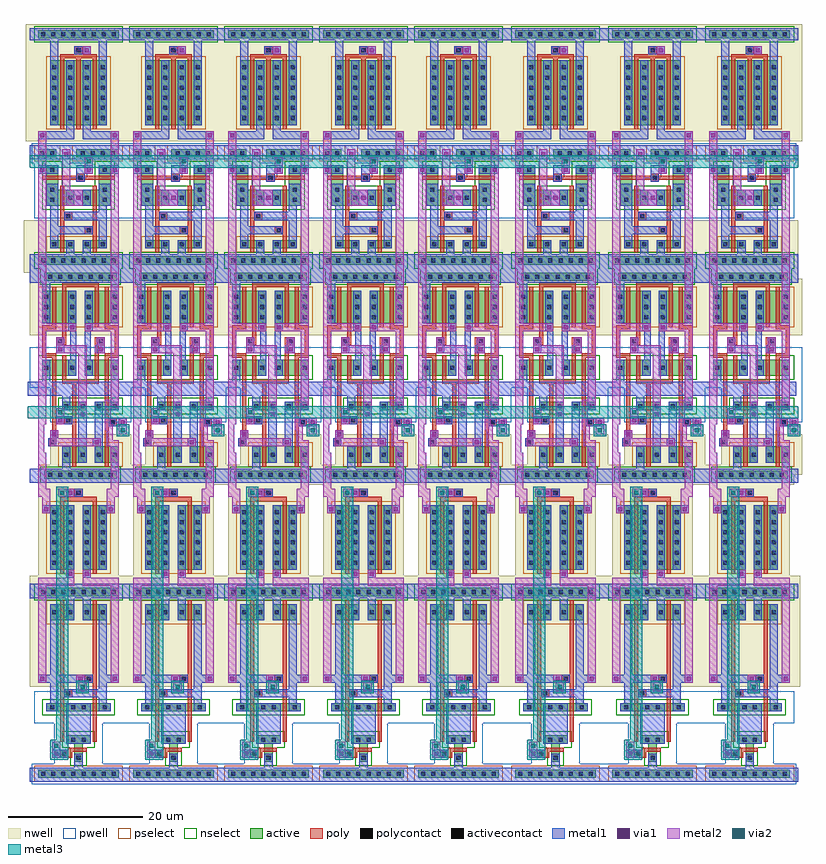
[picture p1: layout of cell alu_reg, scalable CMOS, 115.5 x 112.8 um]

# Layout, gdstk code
import gdstk
lib = gdstk.Library(unit=1e-6, precision=1e-09)
def R(c, l, rs):  # rectangles x0, y0, x1, y1
    for r in rs: c.add(gdstk.rectangle(r[:2], r[2:], *l))
def A(c, l, x, y, w, h, nx, ny, dx, dy):  # array of equal rectangles
    R(c, l, [(x+i*dx, y+j*dy, x+i*dx+w, y+j*dy+h) for i in range(nx) for j in range(ny)])
pwell = (41, 0)
nwell = (42, 0)
active = (43, 0)
pselect = (44, 0)
nselect = (45, 0)
poly = (46, 0)
polycontact = (47, 0)
activecontact = (48, 0)
metal1 = (49, 0)
via1 = (50, 0)
metal2 = (51, 0)
via2 = (61, 0)
metal3 = (62, 0)

precharge = lib.new_cell('precharge')
R(precharge, nwell, [(-7.5,-5.1,8.1,12.3)])
R(precharge, active, [(-3.9,-2.7,4.5,6.9), (-5.7,10.2,6.3,11.4)])
R(precharge, pselect, [(-4.5,-3.3,5.1,7.5)])
R(precharge, nselect, [(-6.3,9.6,6.9,12)])
A(precharge, poly, -2.4, -3.3, 0.6, 10.5, 3, 1, 2.4, 0)
R(precharge, poly, [(-2.4,7.2,3,7.8), (-0.3,7.8,0.9,9)])
R(precharge, polycontact, [(0,8.1,0.6,8.7)])
A(precharge, activecontact, -3.6, -1.95, 0.6, 0.6, 4, 6, 2.4, 1.5)
A(precharge, activecontact, -5.25, 10.5, 0.6, 0.6, 8, 1, 1.5, 0)
R(precharge, metal1, [(-5.7,-4.8,-0.3,-3.6), (0.9,-4.8,6.3,-3.6), (-1.5,-3.6,-0.3,6.9), (0.9,-3.6,2.1,6.9), (-3.9,-2.7,-2.7,9.9), (3.3,-2.7,4.5,9.9), (-0.3,7.8,2.1,9), (-6.9,9.9,7.5,11.7)])
R(precharge, via1, [(-5.4,-4.5,-4.8,-3.9), (5.4,-4.5,6,-3.9), (1.2,8.1,1.8,8.7)])
R(precharge, metal2, [(-5.7,-6,-4.5,-3.6), (5.1,-6,6.3,-3.6), (0.9,7.8,2.1,9)])
precharge.add(gdstk.Label('Clk', (1.5,8.4), layer=51, texttype=0))
precharge.add(gdstk.Label('Bl', (-5.1,-5.4), layer=51, texttype=0))
precharge.add(gdstk.Label('Bl_', (5.7,-5.4), layer=51, texttype=0))

sram = lib.new_cell('sram')
R(sram, pwell, [(-2.7,-14.4,11.1,-11.4), (-2.4,-11.4,3,-9.3), (5.4,-11.4,10.8,-9.3), (-2.4,-9.3,10.8,-3.3)])
R(sram, nwell, [(-3.9,-3,11.4,4.8)])
R(sram, active, [(-1.8,-13.5,0.9,-12.3), (3.9,-13.5,10.2,-12.3), (-0.6,-11.1,1.2,-7.5), (7.2,-11.1,9,-7.5), (-0.6,-7.5,3.6,-5.1), (4.8,-7.5,9,-5.1), (0,0,3.6,1.2), (4.8,0,8.4,1.2), (-1.8,2.4,10.2,3.6)])
R(sram, pselect, [(-2.4,-14.1,1.5,-11.7), (3.3,-14.1,10.8,-11.7), (-0.6,-0.6,9,1.8)])
R(sram, nselect, [(-1.2,-11.7,1.8,-8.1), (6.6,-11.7,9.6,-8.1), (-1.2,-8.1,9.6,-4.5), (-2.4,1.8,10.8,4.2)])
R(sram, poly, [(3.9,-9.9,5.1,-9.6), (-1.2,-9.6,9.6,-9), (3.9,-9,5.1,-8.7), (1.5,-8.1,2.1,-4.2), (6.3,-8.1,6.9,-2.1), (1.5,-4.2,3.3,-3), (1.5,-3,2.1,1.8), (5.1,-2.1,6.9,-0.9), (6.3,-0.9,6.9,1.8)])
R(sram, polycontact, [(4.2,-9.6,4.8,-9), (2.4,-3.9,3,-3.3), (5.4,-1.8,6,-1.2)])
A(sram, activecontact, 4.5, -13.2, 0.6, 0.6, 4, 1, 1.5, 0)
A(sram, activecontact, 0.3, 0.3, 0.6, 0.6, 4, 1, 2.4, 0)
A(sram, activecontact, -1.35, 2.7, 0.6, 0.6, 8, 1, 1.5, 0)
R(sram, activecontact, [(-1.5,-13.2,-0.9,-12.6), (0,-13.2,0.6,-12.6), (0,-10.8,0.6,-10.2), (7.8,-10.8,8.4,-10.2), (0,-7.8,0.6,-7.2), (7.8,-7.8,8.4,-7.2), (2.7,-6.6,3.3,-6), (5.1,-6.6,5.7,-6), (0,-6.3,0.6,-5.7), (7.8,-6.3,8.4,-5.7)])
R(sram, metal1, [(-3,-14.1,11.4,-12), (-1.8,-11.1,1.2,-9.9), (3.9,-11.1,6.3,-9.9), (7.2,-11.1,10.2,-9.9), (3.9,-9.9,5.1,-8.7), (-0.6,-8.4,1.2,-5.1), (7.2,-8.4,9,-5.1), (2.4,-7.5,6,-5.1), (0,-5.1,1.2,-2.1), (7.2,-5.1,8.4,-4.2), (2.1,-4.2,8.4,-3), (7.2,-3,8.4,1.2), (0,-2.1,6.3,-0.9), (0,-0.9,1.2,1.2), (2.4,0,3.6,2.1), (4.8,0,6,2.1), (-3,2.1,11.4,4.2)])
R(sram, via1, [(2.1,-13.05,2.7,-12.45), (-1.5,-10.8,-0.9,-10.2), (5.4,-10.8,6,-10.2), (9.3,-10.8,9.9,-10.2), (3.9,-6.6,4.5,-6)])
R(sram, metal2, [(-1.8,-14.1,-0.6,4.2), (9,-14.1,10.2,4.2), (1.8,-13.5,3,-7.5), (5.1,-12.3,6.3,-9.9), (1.8,-7.5,4.8,-5.1)])
R(sram, via2, [(5.4,-12,6,-11.4)])
R(sram, metal3, [(-3,-12.6,11.4,-10.8)])
sram.add(gdstk.Label('Vdd', (4.2,3), layer=49, texttype=0))
sram.add(gdstk.Label('Gnd', (3.6,-13.2), layer=49, texttype=0))
sram.add(gdstk.Label('En', (10.8,-11.7), layer=62, texttype=0))
sram.add(gdstk.Label('Bl', (-1.2,-6.9), layer=51, texttype=0))
sram.add(gdstk.Label('Bl_', (9.6,-6.9), layer=51, texttype=0))

write_driver = lib.new_cell('write_driver')
R(write_driver, pwell, [(1.2,-15.9,13.2,-10.8), (-1.8,-10.8,13.2,-4.8)])
R(write_driver, nwell, [(-0.6,-25.2,12,-23.7), (-0.6,-23.7,13.2,-22.2), (1.2,-22.2,13.2,-17.7), (-1.8,-3,13.2,5.4), (-0.6,5.4,12,7.2)])
R(write_driver, active, [(0.3,-24.3,11.1,-23.1), (3,-21.9,6.6,-19.5), (7.8,-21.9,11.4,-19.5), (3,-14.1,6.6,-12.9), (7.8,-14.1,11.4,-12.9), (0,-9,5.1,-6.6), (6.3,-9,11.4,-6.6), (0,-1.2,5.1,3.6), (6.3,-1.2,11.4,3.6), (0.3,5.1,11.1,6.3)])
R(write_driver, pselect, [(2.4,-22.5,12,-18.9), (-0.6,-1.8,12,4.2)])
R(write_driver, nselect, [(-0.3,-24.9,11.7,-22.5), (2.4,-14.7,12,-12.3), (-0.6,-9.6,12,-6), (-0.3,4.5,11.7,6.9)])
R(write_driver, poly, [(4.5,-22.5,5.1,-16.2), (9.3,-22.5,9.9,-16.5), (0.9,-19.5,2.1,-18.3), (1.5,-18.3,2.1,-6.3), (9.3,-16.5,11.1,-15.3), (3.3,-16.2,5.1,-15), (9.3,-15.3,9.9,-6.3), (4.5,-15,5.1,-10.2), (3,-10.2,8.4,-9.6), (3,-9.6,3.6,-6), (7.8,-9.6,8.4,-4.5), (0,-6.3,2.1,-5.7), (9.3,-6.3,11.4,-5.7), (0,-5.7,0.6,-2.1), (10.8,-5.7,11.4,-2.1), (2.1,-4.5,3.6,-3.3), (7.8,-4.5,9.3,-3.3), (3,-3.3,3.6,4.2), (0,-2.1,2.1,-1.5), (9.3,-2.1,11.4,-1.5), (7.8,-1.8,8.4,4.2), (1.5,-1.5,2.1,4.2), (9.3,-1.5,9.9,4.2), (3,4.2,8.4,4.8)])
R(write_driver, polycontact, [(1.2,-19.2,1.8,-18.6), (10.2,-16.2,10.8,-15.6), (3.6,-15.9,4.2,-15.3), (2.4,-4.2,3,-3.6), (8.4,-4.2,9,-3.6)])
A(write_driver, activecontact, 0.9, -24, 0.6, 0.6, 7, 2, 1.5, 29.4)
A(write_driver, activecontact, 3.3, -21, 0.6, 0.6, 4, 2, 2.4, 7.2)
A(write_driver, activecontact, 0.3, -0.6, 0.6, 0.6, 1, 3, 0, 1.5)
A(write_driver, activecontact, 4.2, -0.6, 0.6, 0.6, 1, 3, 0, 1.5)
A(write_driver, activecontact, 6.6, -0.6, 0.6, 0.6, 1, 3, 0, 1.5)
A(write_driver, activecontact, 10.5, -0.6, 0.6, 0.6, 1, 3, 0, 1.5)
R(write_driver, activecontact, [(0.3,-8.1,0.9,-7.5), (4.2,-8.1,4.8,-7.5), (6.6,-8.1,7.2,-7.5), (10.5,-8.1,11.1,-7.5)])
R(write_driver, metal1, [(-1.8,-24.9,12.6,-22.8), (3,-22.8,4.2,-19.5), (10.2,-22.8,11.4,-19.5), (5.4,-21.9,6.6,-12.9), (7.8,-21.9,9,-19.5), (0.9,-19.5,2.1,-18.3), (7.5,-19.5,9,-18.3), (1.2,-18.3,2.4,-17.1), (7.8,-18.3,9,-12.9), (9.9,-16.5,12.6,-15.3), (2.1,-16.2,4.5,-15), (3,-14.1,4.2,-12), (10.2,-14.1,11.4,-12), (0,-12,11.4,-10.2), (0,-10.2,1.2,-6.6), (10.2,-10.2,11.4,-6.6), (3.9,-9,5.1,-6.6), (6.3,-9,7.5,-6.6), (4.2,-6.6,5.1,-2.4), (6.3,-6.6,7.2,-2.4), (2.1,-5.7,3.3,-3.3), (8.1,-5.7,9.3,-3.3), (3.9,-2.4,5.1,3.6), (6.3,-2.4,7.5,3.6), (0,-1.2,1.2,4.8), (10.2,-1.2,11.4,4.8), (-1.8,4.8,12.6,6.9)])
R(write_driver, via1, [(7.8,-19.2,8.4,-18.6), (1.5,-18,2.1,-17.4), (11.7,-16.2,12.3,-15.6), (2.4,-15.9,3,-15.3), (5.7,-15,6.3,-14.4), (2.4,-5.4,3,-4.8), (8.4,-5.4,9,-4.8), (4.2,-2.1,4.8,-1.5), (6.6,-2.1,7.2,-1.5)])
R(write_driver, metal2, [(-0.6,-24.9,0.6,-20.4), (10.2,-24.9,11.4,-19.5), (-0.6,-20.4,0.3,-16.2), (1.2,-19.5,8.7,-18.3), (9.6,-19.5,11.4,-18.6), (9.6,-18.6,10.5,-17.1), (1.2,-18.3,2.4,-17.1), (11.4,-17.7,12.6,-15.3), (9.3,-17.1,10.5,-16.2), (-0.6,-16.2,0.6,-2.4), (2.1,-16.2,3.3,-13.8), (9.3,-16.2,10.2,-13.8), (5.4,-15.3,6.6,-5.7), (9.3,-13.8,11.4,-12.6), (10.2,-12.6,11.4,-2.4), (2.1,-5.7,6.6,-4.5), (7.8,-5.7,9.3,-4.5), (2.1,-4.5,3.3,-3.3), (8.1,-4.5,9.3,-3.3), (-0.6,-2.4,5.1,-1.2), (6.3,-2.4,11.4,-1.2), (-0.6,-1.2,0.6,6.9), (10.2,-1.2,11.4,6.9)])
R(write_driver, via2, [(11.7,-17.4,12.3,-16.8), (2.4,-14.7,3,-14.1)])
R(write_driver, metal3, [(11.1,-18,12.9,-16.2), (-2.1,-15.3,12.6,-13.5)])
write_driver.add(gdstk.Label('Gnd', (5.7,-12), layer=49, texttype=0))
write_driver.add(gdstk.Label('Vdd', (5.7,6.6), layer=49, texttype=0))
write_driver.add(gdstk.Label('Dd', (10.5,-15.6), layer=49, texttype=0))
write_driver.add(gdstk.Label('Vdd', (5.7,-23.7), layer=49, texttype=0))
write_driver.add(gdstk.Label('Bl_', (10.8,-18.9), layer=51, texttype=0))
write_driver.add(gdstk.Label('Ds', (12,-14.4), layer=62, texttype=0))
write_driver.add(gdstk.Label('Dd', (12,-17.1), layer=62, texttype=0))

isolation = lib.new_cell('isolation')
R(isolation, nwell, [(-6,3.3,6,16.5)])
R(isolation, active, [(-4.2,5.1,-0.6,14.7), (0.6,5.1,4.2,14.7)])
R(isolation, pselect, [(-4.8,4.5,4.8,15.3)])
R(isolation, poly, [(-2.7,4.5,-2.1,15.3), (2.1,4.5,2.7,15.3), (-2.7,15.3,2.7,15.9), (-0.6,15.9,0.6,17.1)])
R(isolation, polycontact, [(-0.3,16.2,0.3,16.8)])
A(isolation, activecontact, -3.9, 5.85, 0.6, 0.6, 4, 6, 2.4, 1.5)
R(isolation, metal1, [(-1.8,3.9,-0.6,14.7), (0.6,3.9,1.8,14.7), (-4.2,5.1,-3,13.5), (3,5.1,4.2,13.5), (-5.4,13.5,-3,14.7), (3,13.5,5.4,14.7), (-0.6,15.9,0.6,17.1)])
R(isolation, via1, [(-1.5,4.2,-0.9,4.8), (0.9,4.2,1.5,4.8), (-5.1,13.8,-4.5,14.4), (4.5,13.8,5.1,14.4)])
R(isolation, metal2, [(-6,1.5,-4.8,2.7), (4.8,1.5,6,2.7), (-6,2.7,-0.6,3.9), (0.6,2.7,6,3.9), (-1.8,3.9,-0.6,5.1), (0.6,3.9,1.8,5.1), (-5.4,13.5,-4.2,15.9), (4.2,13.5,5.4,15.9), (-6,15.9,-4.2,17.1), (4.2,15.9,6,17.1), (-6,17.1,-4.8,18.3), (4.8,17.1,6,18.3)])
isolation.add(gdstk.Label('B', (-5.4,17.7), layer=51, texttype=0))
isolation.add(gdstk.Label('B_', (5.4,17.7), layer=51, texttype=0))
isolation.add(gdstk.Label('Bl', (-5.4,2.1), layer=51, texttype=0))
isolation.add(gdstk.Label('Bl_', (5.4,2.1), layer=51, texttype=0))
isolation.add(gdstk.Label('As', (0,16.5), layer=49, texttype=0))

diffamp = lib.new_cell('diffamp')
R(diffamp, pwell, [(22.8,-11.4,36.6,-8.4), (26.1,-8.4,33.3,-2.4), (23.1,-2.4,36.3,2.4)])
R(diffamp, nwell, [(22.5,3,37.2,19.5)])
R(diffamp, active, [(23.7,-10.5,35.7,-9.3), (29.1,-8.1,30.3,-5.4), (27.9,-5.4,31.5,-4.2), (24.9,-0.6,34.5,0.6), (25.5,12.9,29.1,15.3), (30.3,12.9,33.9,15.3), (23.7,16.5,35.7,17.7)])
R(diffamp, pselect, [(23.1,-11.1,36.3,-8.7), (24.9,12.3,34.5,15.9)])
R(diffamp, nselect, [(28.5,-8.7,30.9,-6), (27.3,-6,32.1,-3.6), (24.3,-1.2,35.1,1.2), (23.1,15.9,36.3,18.3)])
R(diffamp, poly, [(27,-7.5,28.8,-6.6), (27,-6.6,30.9,-6.3), (28.2,-6.3,30.9,-6), (27,-5.1,27.6,1.5), (31.8,-5.1,32.4,3.6), (27,1.5,28.8,2.7), (27,2.7,27.6,15.9), (30.6,3.6,32.4,4.8), (31.8,4.8,32.4,15.9)])
R(diffamp, polycontact, [(27.3,-7.2,27.9,-6.6), (27.9,1.8,28.5,2.4), (30.9,3.9,31.5,4.5)])
A(diffamp, activecontact, 24.15, -10.2, 0.6, 0.6, 8, 2, 1.5, 27)
A(diffamp, activecontact, 25.8, 13.8, 0.6, 0.6, 4, 1, 2.4, 0)
R(diffamp, activecontact, [(29.4,-7.8,30,-7.2), (28.65,-5.1,29.25,-4.5), (30.15,-5.1,30.75,-4.5), (25.5,-0.3,26.1,0.3), (28.65,-0.3,29.25,0.3), (30.15,-0.3,30.75,0.3), (33.3,-0.3,33.9,0.3)])
R(diffamp, metal1, [(22.5,-11.1,36.9,-9), (29.1,-9,30.3,-6.9), (27,-7.5,28.2,-6.3), (27.9,-5.4,31.5,0.6), (24.9,-0.6,26.7,0.6), (32.7,-0.6,34.5,0.6), (25.5,0.6,26.7,3.6), (32.7,0.6,33.9,1.5), (27.6,1.5,33.9,2.7), (32.7,2.7,33.9,3.6), (23.7,3.6,31.8,4.8), (32.7,3.6,35.7,4.8), (25.5,4.8,26.7,15.3), (32.7,4.8,33.9,15.3), (27.9,12.9,29.1,16.2), (30.3,12.9,31.5,16.2), (22.5,16.2,36.9,18.3)])
R(diffamp, via1, [(24,3.9,24.6,4.5), (29.7,3.9,30.3,4.5), (34.8,3.9,35.4,4.5)])
R(diffamp, metal2, [(29.7,2.4,30.9,3.6), (23.7,3.6,24.9,18.3), (29.4,3.6,30.6,4.8), (34.5,3.6,35.7,18.3)])
R(diffamp, via2, [(30,2.7,30.6,3.3)])
R(diffamp, metal3, [(29.4,2.1,31.2,3.9)])
diffamp.add(gdstk.Label('Vdd', (29.7,17.1), layer=49, texttype=0))
diffamp.add(gdstk.Label('As', (27.6,-6.9), layer=49, texttype=0))
diffamp.add(gdstk.Label('Gnd', (29.7,-9.9), layer=49, texttype=0))
diffamp.add(gdstk.Label('A', (24.3,5.4), layer=51, texttype=0))
diffamp.add(gdstk.Label('Ad', (30.3,3), layer=62, texttype=0))

reg_bit1 = lib.new_cell('reg_bit1')
R(reg_bit1, nwell, [(0,-49.8,1.2,-47.7), (10.8,-49.8,12,-47.7), (-1.2,-46.8,0,-44.7), (0,-31.2,12,-30), (-1.2,0.6,0,1.5), (12.6,0.6,13.2,1.5)])
R(reg_bit1, metal1, [(-1.2,-74.1,13.2,-72), (2.1,-70.5,3.3,-69.3), (-1.2,-46.8,0,-44.7), (4.2,-31.8,5.4,-30.6), (-1.2,-29.7,0,-27.6), (-1.5,-16.8,12.9,-14.7)])
R(reg_bit1, via1, [(2.4,-70.2,3,-69.6), (4.5,-31.5,5.1,-30.9)])
R(reg_bit1, metal2, [(2.1,-70.5,3.3,-68.1), (0,-49.8,1.2,-47.7), (10.8,-49.8,12,-47.7), (0.6,-33,1.8,-31.8), (10.2,-33,11.4,-31.8), (3,-31.8,5.4,-30.6)])
R(reg_bit1, via2, [(2.4,-69,3,-68.4), (3.3,-31.5,3.9,-30.9)])
R(reg_bit1, metal3, [(1.8,-70.8,4.5,-67.8), (2.7,-67.8,4.5,-30.3), (-1.2,-20.1,0.3,-18.3)])
reg_bit1.add(gdstk.Reference(precharge, (5.7,26.1)))
reg_bit1.add(gdstk.Reference(sram, (1.8,6.3), x_reflection=True))
reg_bit1.add(gdstk.Reference(write_driver, (0.6,-4.8)))
reg_bit1.add(gdstk.Reference(isolation, (6,-47.7)))
reg_bit1.add(gdstk.Reference(diffamp, (-23.7,-63)))
reg_bit1.add(gdstk.Label('Ds', (-0.6,-19.2), layer=62, texttype=0))
reg_bit1.add(gdstk.Label('Vdd', (-0.6,-45.6), layer=49, texttype=0))
reg_bit1.add(gdstk.Label('Vdd', (-0.6,-28.8), layer=49, texttype=0))
reg_bit1.add(gdstk.Label('Gnd', (-0.6,-15.9), layer=49, texttype=0))
reg_bit1.add(gdstk.Label('A', (0.6,-49.2), layer=51, texttype=0))
reg_bit1.add(gdstk.Label('Bl', (1.2,-32.4), layer=51, texttype=0))
reg_bit1.add(gdstk.Label('Bl_', (10.8,-32.4), layer=51, texttype=0))
reg_bit1.add(gdstk.Label('A_', (11.4,-49.2), layer=51, texttype=0))
reg_bit1.add(gdstk.Label('Gnd', (6,-72.9), layer=49, texttype=0))

alu_reg = lib.new_cell('alu_reg')
A(alu_reg, pwell, 13.8, -11.4, 0.3, 3, 4, 2, 14.1, 92.1)
A(alu_reg, pwell, 70.2, -11.4, 0.6, 3, 3, 2, 14.4, 92.1)
A(alu_reg, pwell, 13.5, -2.4, 0.9, 4.8, 4, 1, 14.1, 0)
A(alu_reg, pwell, 69.9, -2.4, 1.2, 4.8, 3, 1, 14.4, 0)
A(alu_reg, pwell, 13.5, 72.6, 0.9, 8.1, 4, 1, 14.1, 0)
A(alu_reg, pwell, 69.9, 72.6, 1.2, 8.1, 3, 1, 14.4, 0)
A(alu_reg, nwell, 13.5, 33, 1.5, 1.5, 4, 1, 14.1, 0)
A(alu_reg, nwell, 69.9, 33, 1.8, 1.5, 3, 1, 14.4, 0)
A(alu_reg, nwell, 14.7, 34.5, 0.3, 1.5, 4, 1, 14.1, 0)
A(alu_reg, nwell, 71.1, 34.5, 0.6, 1.5, 3, 1, 14.4, 0)
alu_reg.add(gdstk.Reference(reg_bit1, (0.9,63)))
alu_reg.add(gdstk.Reference(reg_bit1, (15,63)))
alu_reg.add(gdstk.Reference(reg_bit1, (29.1,63)))
alu_reg.add(gdstk.Reference(reg_bit1, (43.2,63)))
alu_reg.add(gdstk.Reference(reg_bit1, (57.3,63)))
alu_reg.add(gdstk.Reference(reg_bit1, (71.7,63)))
alu_reg.add(gdstk.Reference(reg_bit1, (86.1,63)))
alu_reg.add(gdstk.Reference(reg_bit1, (100.5,63)))

lib.write_gds('alu_reg.gds')
